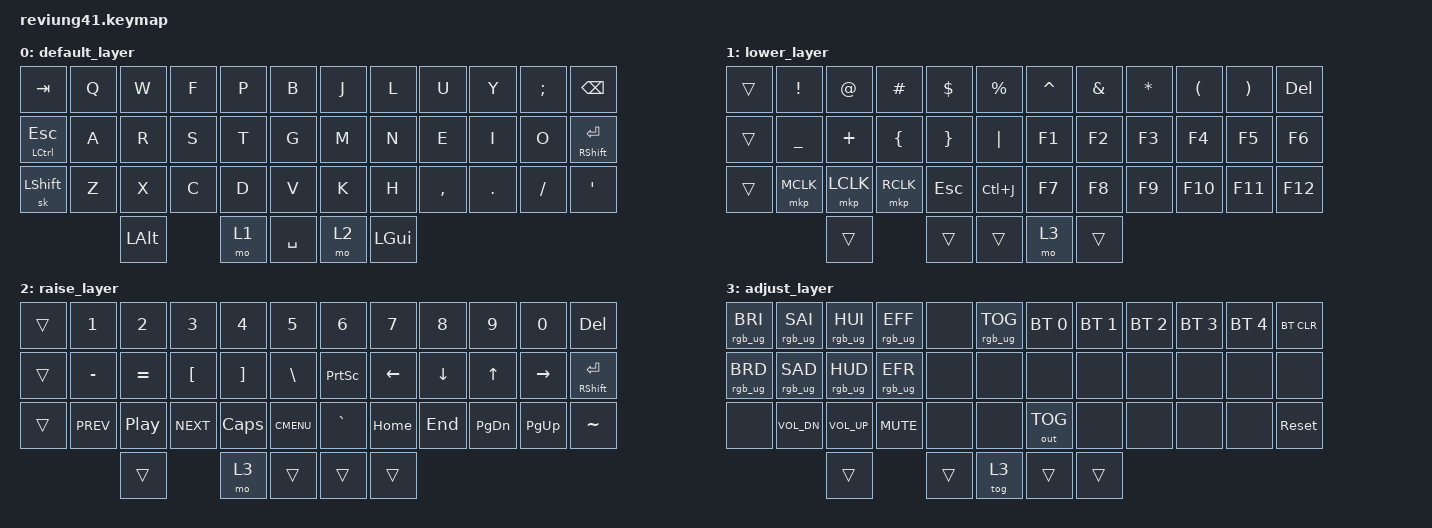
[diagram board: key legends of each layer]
/*
 * Copyright (c) 2020 The ZMK Contributors
 *
 * SPDX-License-Identifier: MIT
 */

#include <behaviors.dtsi>
#include <dt-bindings/zmk/keys.h>
#include <dt-bindings/zmk/bt.h>
#include <dt-bindings/led/led.h>
#include <dt-bindings/zmk/rgb.h>
#include <dt-bindings/zmk/outputs.h>
#include <dt-bindings/zmk/mouse.h>

// &spi1 {
//     compatible = "nordic,nrf-spim";
//     status = "okay";
//     mosi-pin = <6>;
//     // Unused pins, needed for SPI definition, but not used by the ws2812 driver itself.
//     sck-pin = <5>;
//     miso-pin = <7>;

//     led_strip: ws2812@0 {
//         compatible = "worldsemi,ws2812-spi";
//         label = "WS2812";

//         /* SPI */
//         reg = <0>; /* ignored, but necessary for SPI bindings */
//         spi-max-frequency = <4000000>;

//         /* WS2812 */
//         chain-length = <11>; /* arbitrary; change at will */
//         spi-one-frame = <0x70>;
//         spi-zero-frame = <0x40>;
//         color-mapping = <LED_COLOR_ID_GREEN
//                             LED_COLOR_ID_RED
//                             LED_COLOR_ID_BLUE>;
//     };
// };

&sk {
    release-after-ms = <500>;
};

/ {
        // chosen {
        //     zmk,underglow = &led_strip;
        // };

        keymap {
                compatible = "zmk,keymap";

                default_layer {
// -------------------------------------------------------------------------------------
// |  TAB      |  Q  |  W  |  F  |  P  |  B  |   |  J  |  L   |  U  |  Y  |  ;  | BKSP     |
// | CTRL[ESC] |  A  |  R  |  S  |  T  |  G  |   |  M  |  N   |  E  |  I  |  O  | SHFT[RET]|
// | sk(SHFT)  |  Z  |  X  |  C  |  D  |  V  |   |  K  |  H   |  ,  |  .  |  /  |  '       |
//                                 | ALT | LWR | SPC | RSE  | LGUI |
                        bindings = <
   &kp TAB       &kp Q &kp W &kp F &kp P &kp B   &kp J &kp L  &kp U     &kp Y   &kp SEMI &kp BSPC
   &mt LCTRL ESC &kp A &kp R &kp S &kp T &kp G   &kp M &kp N  &kp E     &kp I   &kp O    &mt RSHFT RET
   &sk LSHFT     &kp Z &kp X &kp C &kp D &kp V   &kp K &kp H  &kp COMMA &kp DOT &kp FSLH &kp SQT
                         &kp LALT  &mo 1 &kp SPACE &mo 2  &kp LGUI
                        >;
                };

                lower_layer {
// ----------------------------------------------------------------------------------
// |    |  !  |  @  |  #  |  $  |  %  |   |  ^  |  &  |  *  |  (  |  )  | DEL |
// |    |  _  |  +  |  {  |  }  | "|" |   | F1  | F2  | F3  | F4  | F5  | F6  |
// |    | VOL-| VOL+| MUTE| ESC | C(J)|   | F7  | F8  | F9  | F10 | F11 | F12 |
//                       |     |     | RET | ADJ |     |
                        bindings = <
   &trans &kp EXCL     &kp AT       &kp HASH   &kp DLLR &kp PRCNT      &kp CARET &kp AMPS &kp STAR    &kp LPAR  &kp RPAR  &kp DEL
   &trans &kp UNDER    &kp PLUS     &kp LBRC   &kp RBRC &kp PIPE       &kp F1    &kp F2   &kp F3    &kp F4    &kp F5    &kp F6
   &trans &mkp MCLK    &mkp LCLK    &mkp RCLK  &kp ESC  &kp LC(J)      &kp F7    &kp F8   &kp F9    &kp F10   &kp F11   &kp F12
                                       &trans      &trans       &trans        &mo 3       &trans
                        >;
                };

                raise_layer {
// -----------------------------------------------------------------------------------------
// |    |  1  |  2  |  3  |  4  |  5  |   |  6  |  7  |  8  |  9  |  0  | DEL      |
// |    |  -  |  =  |  [  |  ]  |  \  |   | PRSC| LFT | DWN |  UP | RGT | SHFT[RET]|
// |    | Prev| PP  | Next| CAPS| MENU|   |  `  | HOME| END | PGUP| PGDN|  ~       |
//                       |     | ADJ | BKSP |    |     |
                        bindings = <
   &trans &kp N1     &kp N2    &kp N3     &kp N4    &kp N5        &kp N6    &kp N7   &kp N8    &kp N9    &kp N0    &kp DEL
   &trans &kp MINUS  &kp EQUAL &kp LBKT   &kp RBKT  &kp BSLH      &kp PSCRN &kp LEFT  &kp DOWN &kp UP    &kp RIGHT &mt RSHFT RET
   &trans &kp C_PREV &kp C_PP  &kp C_NEXT &kp CLCK  &kp K_CMENU   &kp GRAVE &kp HOME  &kp END  &kp PG_DN &kp PG_UP &kp TILDE
                                  &trans      &mo 3       &trans        &trans      &trans
                        >;
                };

                adjust_layer {
// -----------------------------------------------------------------------------------------
// | RGB BRI+ | RGB SAT+ | RGB HUE+ | RGB ANI+ |    | RGB TOG |   |  BT1   | BT2 | BT3 | BT4 | BT5 | BT CLR |
// | RGB BRI- | RGB SAT- | RGB HUE- | RGB ANI- |    |         |   |        |     |     |     |     |        |
// |          |          |          |          |    |         |   | OUT_TOG|     |     |     |     | RESET  |
//                                               |     |     |     |     |     |
                        bindings = <
   &rgb_ug RGB_BRI &rgb_ug RGB_SAI &rgb_ug RGB_HUI &rgb_ug RGB_EFF &none &rgb_ug RGB_TOG    &bt BT_SEL 0 &bt BT_SEL 1 &bt BT_SEL 2 &bt BT_SEL 3 &bt BT_SEL 4 &bt BT_CLR
   &rgb_ug RGB_BRD &rgb_ug RGB_SAD &rgb_ug RGB_HUD &rgb_ug RGB_EFR &none &none              &none        &none        &none        &none        &none        &none
   &none           &kp C_VOL_DN    &kp C_VOL_UP    &kp K_MUTE      &none &none              &out OUT_TOG &none        &none        &none        &none        &sys_reset
                                                              &trans      &trans       &tog 3        &trans      &trans
                        >;
                };
        };
};
